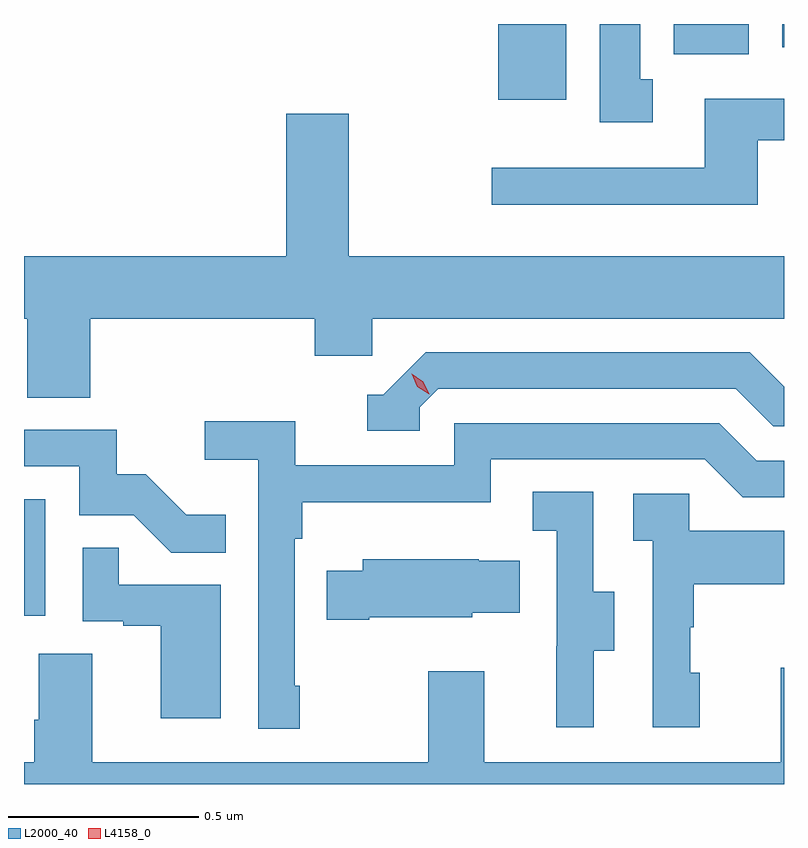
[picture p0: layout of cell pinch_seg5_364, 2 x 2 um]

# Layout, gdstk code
import gdstk
lib = gdstk.Library(unit=1e-6, precision=1e-09)
def R(c, l, rs):  # rectangles x0, y0, x1, y1
    for r in rs: c.add(gdstk.rectangle(r[:2], r[2:], *l))
def P(c, l, *ps):  # polygons
    for p in ps: c.add(gdstk.Polygon(p, *l))
L2000_40 = (2000, 40)
L4158_0 = (4158, 0)

pinch_seg5_364 = lib.new_cell('pinch_seg5_364')
R(pinch_seg5_364, L2000_40, [(979.502,875.958,979.558,876.265), (980.75,877.316,980.929,877.515), (981.212,877.436,981.409,877.515), (981.497,877.454,981.502,877.515)])
P(pinch_seg5_364, L2000_40, [(981.157,877.37),(981.124,877.37),(981.124,877.515),(981.017,877.515),(981.017,877.257),(981.157,877.257)],
  [(981.433,877.209),(981.502,877.209),(981.502,877.318),(981.293,877.318),(981.293,877.137),(980.733,877.137),(980.733,877.04),(981.433,877.04)],
  [(979.502,876.74),(979.511,876.74),(979.511,876.532),(979.676,876.532),(979.676,876.74),(980.267,876.74),(980.267,876.642),(980.418,876.642),(980.418,876.74),(981.502,876.74),(981.502,876.904),(980.356,876.904),(980.356,877.279),(980.192,877.279),(980.192,876.904),(979.502,876.904)],
  [(980.544,876.507),(980.592,876.555),(981.375,876.555),(981.474,876.456),(981.502,876.456),(981.502,876.561),(981.412,876.651),(980.559,876.651),(980.448,876.54),(980.405,876.54),(980.405,876.444),(980.544,876.444)],
  [(980.227,875.773),(980.214,875.773),(980.214,876.161),(980.234,876.161),(980.234,876.257),(980.73,876.257),(980.73,876.369),(981.294,876.369),(981.393,876.27),(981.502,876.27),(981.502,876.366),(981.43,876.366),(981.331,876.465),(980.634,876.465),(980.634,876.354),(980.216,876.354),(980.216,876.47),(979.977,876.47),(979.977,876.368),(980.118,876.368),(980.118,875.661),(980.227,875.661)],
  [(980.033,876.223),(979.929,876.223),(979.822,876.33),(979.746,876.33),(979.746,876.447),(979.502,876.447),(979.502,876.351),(979.647,876.351),(979.647,876.222),(979.791,876.222),(979.889,876.124),(980.033,876.124)],
  [(981.001,875.866),(981.055,875.866),(981.055,876.021),(981,876.021),(981,876.284),(980.841,876.284),(980.841,876.181),(980.904,876.181),(980.904,875.877),(980.903,875.877),(980.903,875.664),(981.001,875.664)],
  [(981.28,875.808),(981.255,875.808),(981.255,875.927),(981.265,875.927),(981.265,876.041),(981.502,876.041),(981.502,876.181),(981.252,876.181),(981.252,876.279),(981.105,876.279),(981.105,876.155),(981.156,876.155),(981.156,875.664),(981.28,875.664)],
  [(980.02,876.039),(979.751,876.039),(979.751,876.137),(979.656,876.137),(979.656,875.943),(979.763,875.943),(979.763,875.931),(979.862,875.931),(979.862,875.688),(980.02,875.688)],
  [(980.41,875.954),(980.682,875.954),(980.682,875.966),(980.807,875.966),(980.807,876.103),(980.699,876.103),(980.699,876.106),(980.393,876.106),(980.393,876.076),(980.299,876.076),(980.299,875.947),(980.41,875.947)],
  [(981.502,875.821),(981.494,875.821),(981.494,875.572),(980.713,875.572),(980.713,875.812),(980.566,875.812),(980.566,875.572),(979.681,875.572),(979.681,875.858),(979.541,875.858),(979.541,875.684),(979.529,875.684),(979.529,875.572),(979.502,875.572),(979.502,875.515),(981.502,875.515)])
P(pinch_seg5_364, L4158_0, [(980.568,876.541),(980.537,876.561),(980.522,876.594),(980.522,876.594),(980.522,876.594),(980.553,876.574),(980.568,876.541),(980.568,876.541)])

lib.write_gds('pinch_seg5_364.gds')
